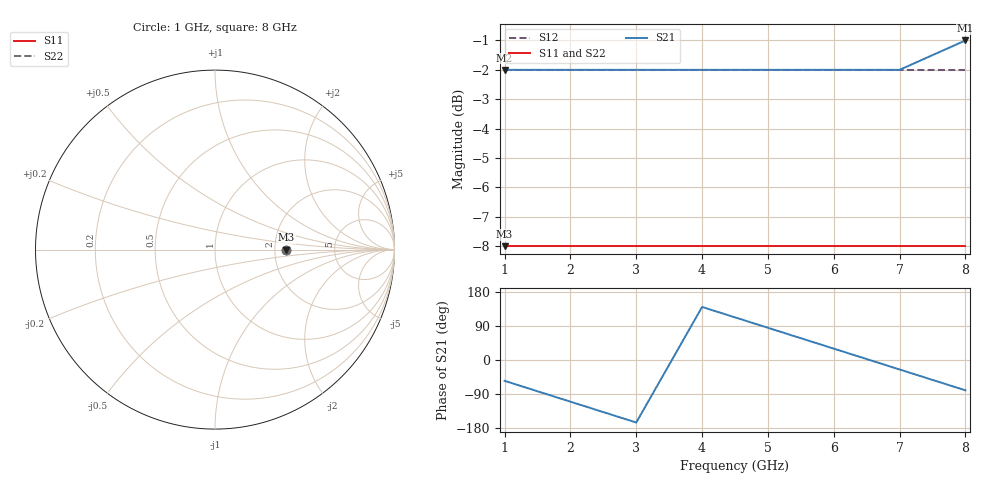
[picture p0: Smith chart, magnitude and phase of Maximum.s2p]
#  HZ  S  DB  R  50.00
! Rohde & Schwarz Vector Network Analyzer
! Rohde-Schwarz,ZNB8-4Port,1311601044101761,1.95
! Created: UTC 2/19/2014, 9:15:01 AM
! freq[Hz]  db:S11  ang:S11  db:S21  ang:S21  db:S12  ang:S12  db:S22  ang:S22
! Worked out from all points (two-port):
!   8 points, 1 GHz to 8 GHz, reference 50 ohm
!   highest |S21| = -1.00 dB at 8 GHz (marker M1); lowest = -2.0 dB at 1 GHz (marker M2)
!   |S21| within 3 dB of the highest: start of sweep to end of sweep
!   lowest |S11| = -8.0 dB at 1 GHz (marker M3), VSWR 2.32, Z = 116 + j0 ohm
!   |S11| at or under -10 dB: nowhere
!   |S22| runs from -8.0 to -8.0 dB; largest |S21 - S12| = 0.097
1e9  -8.00 0.0  -2.00 -55.0  -2.00 -55.0  -8.00 0.0
2e9  -8.00 0.0  -2.00 -110.0  -2.00 -110.0  -8.00 0.0
3e9  -8.00 0.0  -2.00 -165.0  -2.00 -165.0  -8.00 0.0
4e9  -8.00 0.0  -2.00 -220.0  -2.00 -220.0  -8.00 0.0
5e9  -8.00 0.0  -2.00 -275.0  -2.00 -275.0  -8.00 0.0
6e9  -8.00 0.0  -2.00 -330.0  -2.00 -330.0  -8.00 0.0
7e9  -8.00 0.0  -2.00 -385.0  -2.00 -385.0  -8.00 0.0
8e9  -8.00 0.0  -1.00 -440.0  -2.00 -440.0  -8.00 0.0
